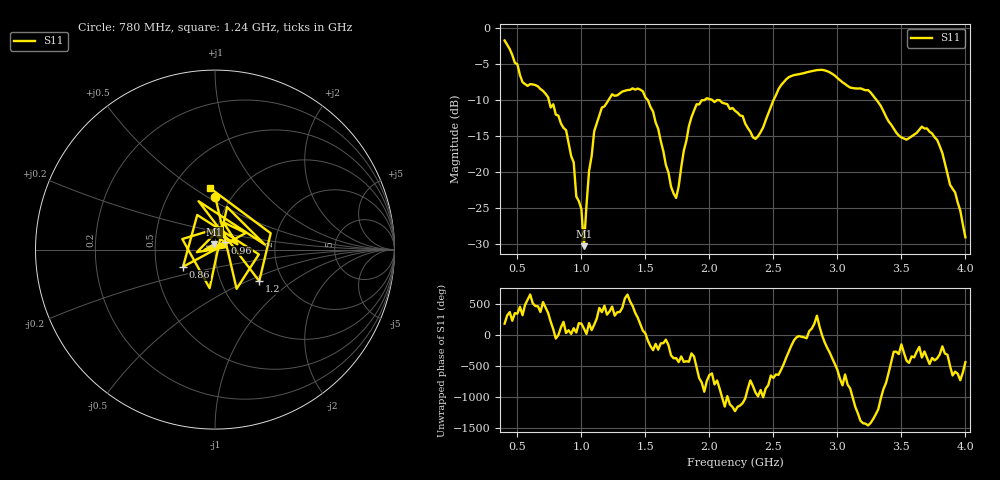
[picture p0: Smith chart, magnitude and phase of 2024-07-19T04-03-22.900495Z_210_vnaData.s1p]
!Created with skrf (http://scikit-rf.org).
# Hz S RI R 50.0
!freq ReS11 ImS11
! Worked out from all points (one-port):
!   181 points, 400 MHz to 4 GHz, reference 50 ohm
!   lowest |S11| = -30.3 dB at 1.02 GHz (marker M1), VSWR 1.06, Z = 49.4 + j2.99 ohm
!   |S11| at or under -10 dB: 744.9 MHz to 1.213 GHz (468.4 MHz wide, 47.8 % of centre); 2.02 GHz to 2.502 GHz (482 MHz wide, 21.3 % of centre); 3.304 GHz to end of sweep (the widest 3 of 4)
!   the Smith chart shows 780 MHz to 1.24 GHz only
!   S11 on the Smith chart (normalised r, x): 780 MHz: 0.84, +0.54; 860 MHz: 0.69, -0.14; 960 MHz: 1.11, +0.09; 1.2 GHz: 1.52, -0.59; 1.24 GHz: 0.75, +0.58
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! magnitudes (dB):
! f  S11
! 400 MHz  -1.8
! 540 MHz  -7.6
! 780 MHz  -10.6
! 860 MHz  -13.9
! 940 MHz  -18.7
! 960 MHz  -23.4
! 1 GHz  -25.1
! 1.02 GHz  -30.3
! 1.06 GHz  -19.8
! 1.1 GHz  -14.4
! 1.2 GHz  -10.4
! 1.24 GHz  -9.2
! 1.3 GHz  -9.1
! 1.48 GHz  -8.8
! 1.56 GHz  -11.6
! 1.72 GHz  -23.0
! 1.76 GHz  -22.0
! 1.84 GHz  -13.6
! 1.9 GHz  -10.6
! 2.2 GHz  -11.5
! 2.36 GHz  -15.4
! 2.66 GHz  -6.6
! 3.1 GHz  -8.3
! 3.24 GHz  -8.7
! 3.56 GHz  -15.3
! 3.66 GHz  -13.7
! 3.78 GHz  -15.6
! 4 GHz  -29.0
